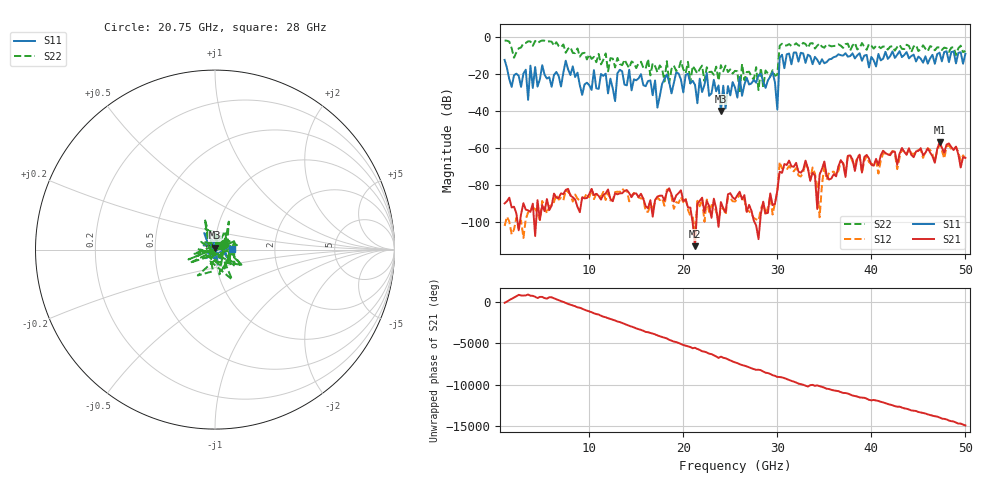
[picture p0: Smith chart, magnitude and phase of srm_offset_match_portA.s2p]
# GHz S RI R 50.0
!freq ReS11 ImS11 ReS21 ImS21 ReS12 ImS12 ReS22 ImS22
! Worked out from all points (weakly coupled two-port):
!   197 points, 1 GHz to 50 GHz, reference 50 ohm
!   highest |S21| = -56.60 dB at 47.25 GHz (marker M1); lowest = -112.9 dB at 21.25 GHz (marker M2)
!   lowest |S11| = -39.8 dB at 24 GHz (marker M3), VSWR 1.02, Z = 49.9 + j1.02 ohm
!   |S11| at or under -10 dB: start of sweep to 30.39 GHz; 33.46 GHz to 36.31 GHz (2.843 GHz wide, 8.15 % of centre); 44.55 GHz to 46.42 GHz (1.871 GHz wide, 4.11 % of centre) (the widest 3 of 21)
!   |S22| runs from -30.2 to -1.6 dB; largest |S21 - S12| = 0.0019
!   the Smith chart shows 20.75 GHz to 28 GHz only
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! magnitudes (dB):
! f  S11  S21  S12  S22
! 1 GHz  -12.1  -89.8  -101.9  -1.6
! 3.25 GHz  -17.4  -93.2  -98.3  -3.0
! 3.5 GHz  -33.7  -93.5  -94.5  -2.0
! 3.75 GHz  -15.2  -94.3  -93.5  -2.2
! 7 GHz  -26.5  -84.3  -86.9  -5.3
! 7.5 GHz  -12.6  -82.5  -82.7  -8.3
! 9.25 GHz  -31.0  -86.4  -87.1  -8.6
! 10.5 GHz  -17.7  -85.3  -87.4  -10.5
! 12.75 GHz  -34.4  -84.3  -83.6  -16.2
! 14.25 GHz  -17.4  -84.2  -88.7  -16.5
! 17.5 GHz  -31.8  -85.6  -88.0  -15.1
! 21.25 GHz  -25.7  -112.9  -105.5  -17.3
! 23.25 GHz  -22.9  -87.2  -90.3  -20.2
! 24 GHz  -39.8  -89.0  -93.3  -14.9
! 25.5 GHz  -27.0  -87.5  -88.7  -18.1
! 29.5 GHz  -18.7  -90.7  -95.8  -17.7
! 30 GHz  -39.0  -82.9  -83.2  -20.2
! 30.25 GHz  -10.9  -72.6  -67.3  -4.5
! 33.75 GHz  -14.4  -73.1  -70.3  -3.1
! 42 GHz  -10.1  -63.7  -63.1  -4.9
! 47.25 GHz  -8.2  -56.6  -58.0  -5.4
! 50 GHz  -8.8  -65.1  -65.3  -7.2
